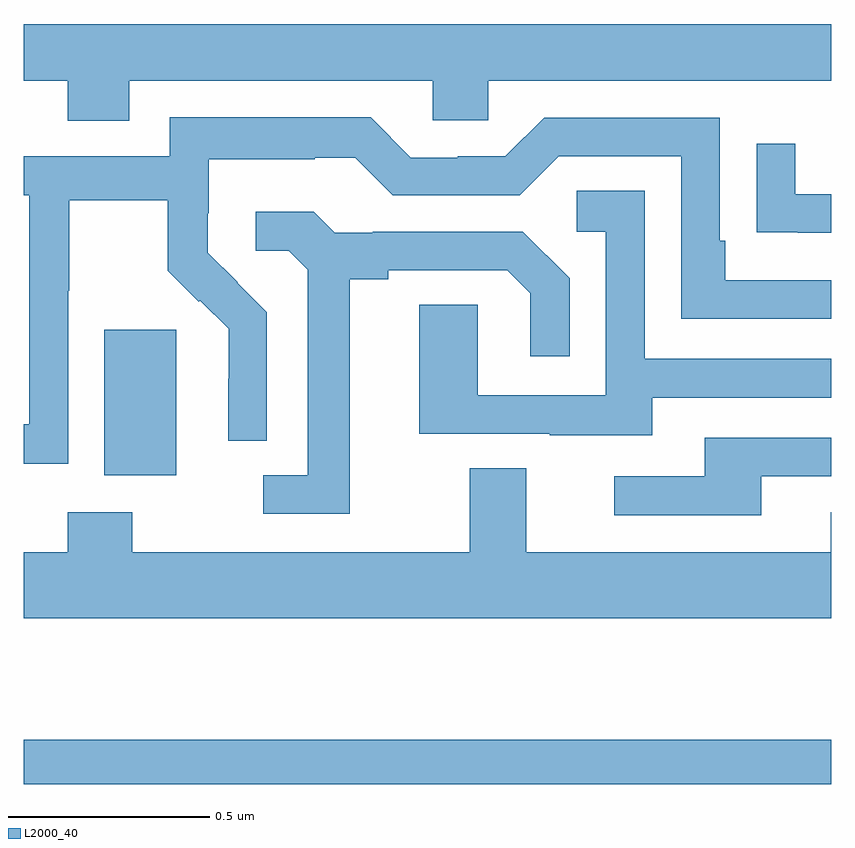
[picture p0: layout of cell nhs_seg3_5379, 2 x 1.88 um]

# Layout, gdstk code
import gdstk
lib = gdstk.Library(unit=1e-6, precision=1e-09)
def R(c, l, rs):  # rectangles x0, y0, x1, y1
    for r in rs: c.add(gdstk.rectangle(r[:2], r[2:], *l))
def P(c, l, *ps):  # polygons
    for p in ps: c.add(gdstk.Polygon(p, *l))
L2000_40 = (2000, 40)

nhs_seg3_5379 = lib.new_cell('nhs_seg3_5379')
R(nhs_seg3_5379, L2000_40, [(178,688.518,180,688.627), (178.199,689.282,178.378,689.643)])
P(nhs_seg3_5379, L2000_40, [(178.261,690.26),(179.013,690.26),(179.013,690.162),(179.151,690.162),(179.151,690.26),(180,690.26),(180,690.4),(178,690.4),(178,690.26),(178.109,690.26),(178.109,690.161),(178.261,690.161)],
  [(178.11,689.74),(178.113,689.74),(178.113,689.964),(178.357,689.964),(178.357,689.789),(178.434,689.712),(178.437,689.715),(178.508,689.645),(178.508,689.522),(178.506,689.522),(178.506,689.368),(178.602,689.368),(178.602,689.686),(178.529,689.759),(178.53,689.76),(178.456,689.834),(178.456,689.931),(178.458,689.931),(178.458,690.065),(178.721,690.065),(178.721,690.069),(178.821,690.069),(178.914,689.976),(179.229,689.976),(179.325,690.072),(179.628,690.072),(179.628,689.67),(180,689.67),(180,689.766),(179.737,689.766),(179.737,689.863),(179.724,689.863),(179.724,690.168),(179.289,690.168),(179.193,690.072),(179.075,690.072),(179.075,690.069),(178.959,690.069),(178.859,690.169),(178.362,690.169),(178.362,690.072),(178,690.072),(178,689.976),(178.014,689.976),(178.014,689.409),(178,689.409),(178,689.311),(178.11,689.311)],
  [(180,689.979),(179.911,689.979),(179.911,690.103),(179.815,690.103),(179.815,689.884),(179.917,689.884),(179.917,689.883),(180,689.883)],
  [(179.557,689.475),(180,689.475),(180,689.571),(179.538,689.571),(179.538,689.987),(179.37,689.987),(179.37,689.886),(179.442,689.886),(179.442,689.481),(179.124,689.481),(179.124,689.705),(178.979,689.705),(178.979,689.385),(179.303,689.385),(179.303,689.381),(179.557,689.381)],
  [(178.807,689.768),(178.903,689.768),(178.903,689.79),(179.198,689.79),(179.255,689.733),(179.255,689.577),(179.352,689.577),(179.352,689.77),(179.236,689.886),(178.864,689.886),(178.864,689.883),(178.77,689.883),(178.718,689.935),(178.575,689.935),(178.575,689.838),(178.656,689.838),(178.703,689.791),(178.703,689.283),(178.593,689.283),(178.593,689.187),(178.807,689.187)],
  [(179.827,689.28),(180,689.28),(180,689.376),(179.687,689.376),(179.687,689.28),(179.463,689.28),(179.463,689.184),(179.827,689.184)],
  [(180,689.191),(179.999,689.191),(179.999,689.092),(179.245,689.092),(179.245,689.3),(179.105,689.3),(179.105,689.092),(178.269,689.092),(178.269,689.191),(178.109,689.191),(178.109,689.092),(178,689.092),(178,688.928),(180,688.928)])

lib.write_gds('nhs_seg3_5379.gds')
